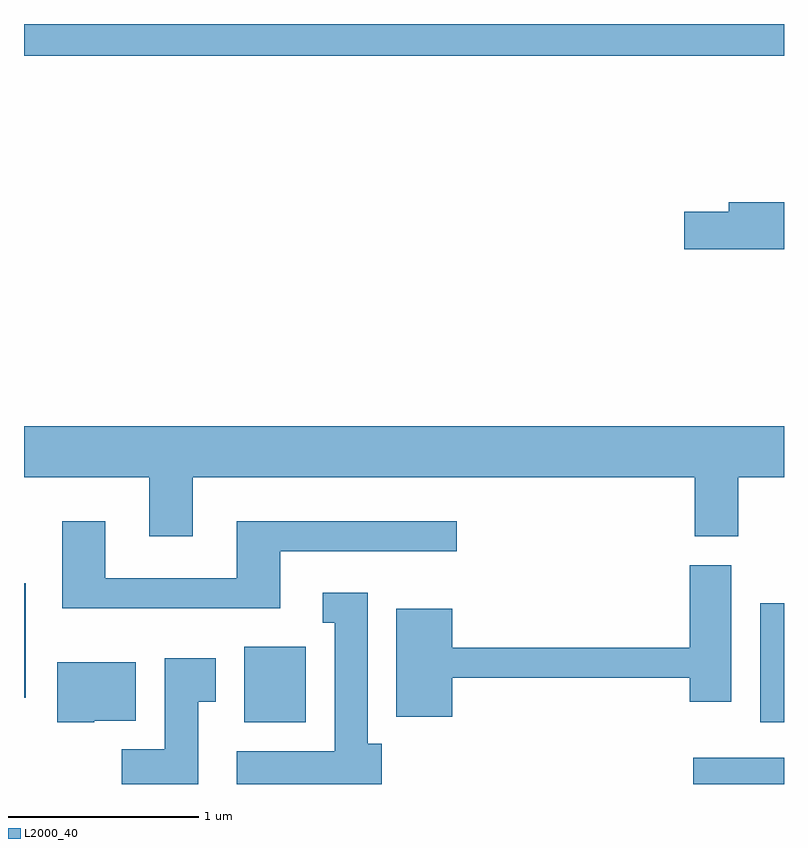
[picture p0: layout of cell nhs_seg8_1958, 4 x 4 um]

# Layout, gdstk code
import gdstk
lib = gdstk.Library(unit=1e-6, precision=1e-09)
def R(c, l, rs):  # rectangles x0, y0, x1, y1
    for r in rs: c.add(gdstk.rectangle(r[:2], r[2:], *l))
def P(c, l, *ps):  # polygons
    for p in ps: c.add(gdstk.Polygon(p, *l))
L2000_40 = (2000, 40)

nhs_seg8_1958 = lib.new_cell('nhs_seg8_1958')
R(nhs_seg8_1958, L2000_40, [(247.133,1850.342,247.611,1850.479), (244.771,1850.666,245.094,1851.064), (247.486,1850.666,247.611,1851.294), (243.611,1850.796,243.619,1851.399), (243.611,1854.176,247.611,1854.342)])
P(nhs_seg8_1958, L2000_40, [(247.611,1853.404),(247.321,1853.404),(247.321,1853.354),(247.086,1853.354),(247.086,1853.156),(247.611,1853.156)],
  [(244.499,1851.956),(247.141,1851.956),(247.141,1851.646),(247.369,1851.646),(247.369,1851.956),(247.611,1851.956),(247.611,1852.224),(243.611,1852.224),(243.611,1851.956),(244.271,1851.956),(244.271,1851.646),(244.499,1851.646)],
  [(244.959,1851.566),(245.888,1851.566),(245.888,1851.724),(244.731,1851.724),(244.731,1851.424),(244.039,1851.424),(244.039,1851.724),(243.811,1851.724),(243.811,1851.266),(244.959,1851.266)],
  [(245.864,1850.901),(247.116,1850.901),(247.116,1850.776),(247.334,1850.776),(247.334,1851.494),(247.116,1851.494),(247.116,1851.059),(245.864,1851.059),(245.864,1851.264),(245.571,1851.264),(245.571,1850.696),(245.864,1850.696)],
  [(245.494,1850.554),(245.419,1850.554),(245.419,1851.349),(245.183,1851.349),(245.183,1851.191),(245.246,1851.191),(245.246,1850.514),(244.731,1850.514),(244.731,1850.342),(245.494,1850.342)],
  [(244.529,1850.776),(244.619,1850.776),(244.619,1851.004),(244.351,1851.004),(244.351,1850.524),(244.126,1850.524),(244.126,1850.342),(244.529,1850.342)],
  [(243.98,1850.676),(244.199,1850.676),(244.199,1850.984),(243.786,1850.984),(243.786,1850.666),(243.98,1850.666)])

lib.write_gds('nhs_seg8_1958.gds')
